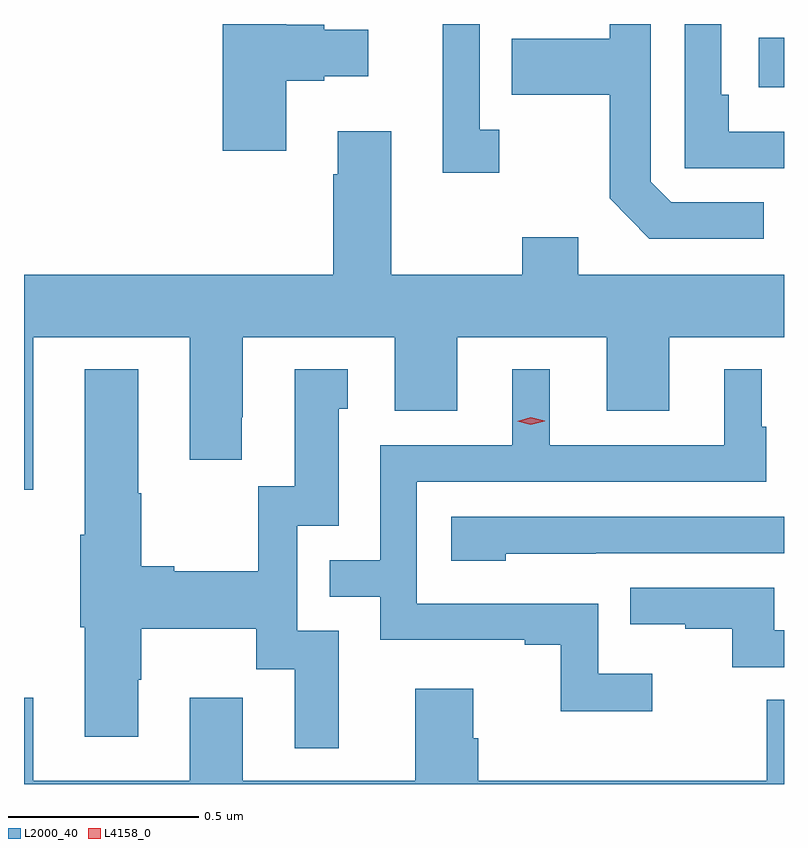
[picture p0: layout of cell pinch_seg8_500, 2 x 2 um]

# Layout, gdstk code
import gdstk
lib = gdstk.Library(unit=1e-6, precision=1e-09)
def R(c, l, rs):  # rectangles x0, y0, x1, y1
    for r in rs: c.add(gdstk.rectangle(r[:2], r[2:], *l))
def P(c, l, *ps):  # polygons
    for p in ps: c.add(gdstk.Polygon(p, *l))
L2000_40 = (2000, 40)
L4158_0 = (4158, 0)

pinch_seg8_500 = lib.new_cell('pinch_seg8_500')
R(pinch_seg8_500, L2000_40, [(231.585,1125.15,231.651,1125.28)])
P(pinch_seg8_500, L2000_40, [(230.902,1125.038),(230.85,1125.038),(230.85,1125.316),(230.753,1125.316),(230.753,1124.925),(230.902,1124.925)],
  [(230.341,1125.167),(230.441,1125.167),(230.441,1125.179),(230.557,1125.179),(230.557,1125.301),(230.441,1125.301),(230.441,1125.314),(230.341,1125.314),(230.341,1125.316),(230.174,1125.316),(230.174,1124.982),(230.341,1124.982)],
  [(231.651,1125.033),(231.506,1125.033),(231.506,1125.13),(231.486,1125.13),(231.486,1125.316),(231.39,1125.316),(231.39,1124.937),(231.651,1124.937)],
  [(231.598,1124.847),(231.354,1124.847),(231.3,1124.901),(231.3,1125.316),(231.192,1125.316),(231.192,1125.277),(230.935,1125.277),(230.935,1125.13),(231.192,1125.13),(231.192,1124.857),(231.297,1124.751),(231.598,1124.751)],
  [(229.675,1124.492),(230.087,1124.492),(230.087,1124.169),(230.224,1124.169),(230.224,1124.281),(230.227,1124.281),(230.227,1124.492),(230.627,1124.492),(230.627,1124.298),(230.791,1124.298),(230.791,1124.492),(231.185,1124.492),(231.185,1124.298),(231.349,1124.298),(231.349,1124.492),(231.651,1124.492),(231.651,1124.656),(231.109,1124.656),(231.109,1124.755),(230.962,1124.755),(230.962,1124.656),(230.617,1124.656),(230.617,1125.034),(230.477,1125.034),(230.477,1124.921),(230.465,1124.921),(230.465,1124.656),(229.651,1124.656),(229.651,1124.091),(229.675,1124.091)],
  [(230.479,1123.719),(230.37,1123.719),(230.37,1123.995),(230.479,1123.995),(230.479,1124.304),(230.503,1124.304),(230.503,1124.407),(230.363,1124.407),(230.363,1124.1),(230.267,1124.1),(230.267,1123.876),(230.047,1123.876),(230.047,1123.889),(229.959,1123.889),(229.959,1124.081),(229.951,1124.081),(229.951,1124.407),(229.811,1124.407),(229.811,1123.972),(229.799,1123.972),(229.799,1123.728),(229.811,1123.728),(229.811,1123.44),(229.951,1123.44),(229.951,1123.59),(229.959,1123.59),(229.959,1123.724),(230.262,1123.724),(230.262,1123.618),(230.363,1123.618),(230.363,1123.41),(230.479,1123.41)],
  [(231.304,1123.606),(231.162,1123.606),(231.162,1123.791),(230.685,1123.791),(230.685,1124.112),(231.604,1124.112),(231.604,1124.256),(231.592,1124.256),(231.592,1124.407),(231.494,1124.407),(231.494,1124.208),(231.034,1124.208),(231.034,1124.407),(230.936,1124.407),(230.936,1124.208),(230.589,1124.208),(230.589,1123.905),(230.455,1123.905),(230.455,1123.809),(230.589,1123.809),(230.589,1123.695),(230.969,1123.695),(230.969,1123.683),(231.064,1123.683),(231.064,1123.508),(231.304,1123.508)],
  [(230.919,1123.922),(231.155,1123.922),(231.155,1123.923),(231.651,1123.923),(231.651,1124.019),(230.775,1124.019),(230.775,1123.904),(230.919,1123.904)],
  [(231.651,1123.721),(231.625,1123.721),(231.625,1123.833),(231.247,1123.833),(231.247,1123.736),(231.391,1123.736),(231.391,1123.725),(231.515,1123.725),(231.515,1123.623),(231.651,1123.623)],
  [(231.651,1123.538),(231.606,1123.538),(231.606,1123.324),(230.846,1123.324),(230.846,1123.437),(230.833,1123.437),(230.833,1123.567),(230.681,1123.567),(230.681,1123.324),(230.227,1123.324),(230.227,1123.543),(230.087,1123.543),(230.087,1123.324),(229.675,1123.324),(229.675,1123.543),(229.651,1123.543),(229.651,1123.316),(231.651,1123.316)])
P(pinch_seg8_500, L4158_0, [(230.985,1124.261),(230.949,1124.27),(230.949,1124.27),(230.949,1124.27),(230.985,1124.281),(231.021,1124.272),(231.021,1124.271),(231.021,1124.271)])

lib.write_gds('pinch_seg8_500.gds')
